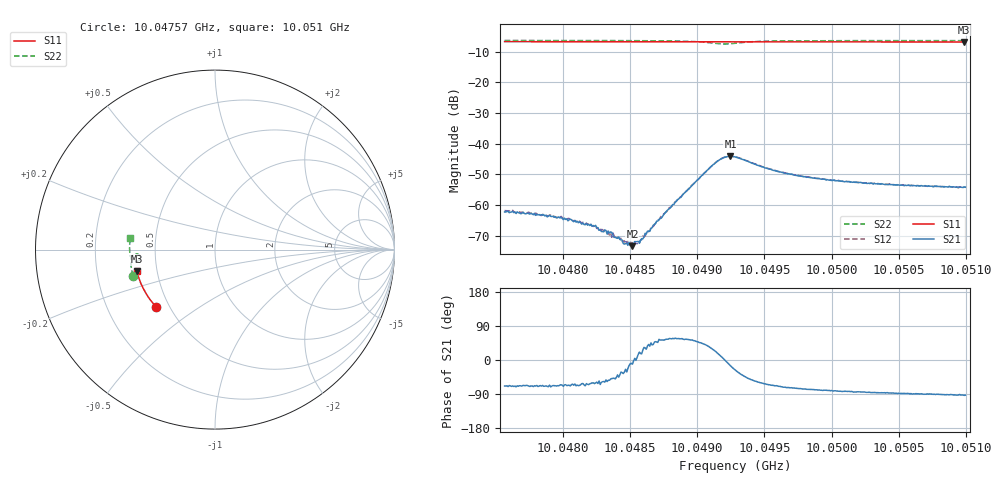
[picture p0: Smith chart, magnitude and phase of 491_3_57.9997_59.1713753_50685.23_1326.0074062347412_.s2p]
#  HZ  S  RI  R  50.00
! Rohde & Schwarz Vector Network Analyzer
! Rohde-Schwarz,ZNB20-2Port,1311601062101988,3.16
! Created: UTC 3/21/2024, 1:12:17 AM
! freq[Hz]  re:S11  im:S11  re:S21  im:S21  re:S12  im:S12  re:S22  im:S22
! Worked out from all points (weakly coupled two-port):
!   401 points, 10.04757 GHz to 10.051 GHz, reference 50 ohm
!   highest |S21| = -44.13 dB at 10.04925 GHz (marker M1); lowest = -73.4 dB at 10.04852 GHz (marker M2)
!   lowest |S11| = -6.9 dB at 10.05099 GHz (marker M3), VSWR 2.65, Z = 19.2 - j5.85 ohm
!   |S11| at or under -10 dB: nowhere
!   |S22| runs from -7.5 to -6.4 dB; largest |S21 - S12| = 0.00044
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1.0047567e10  -0.3304 -0.3174  0.000282 -0.000722  0.000377 -0.000727  -0.456 -0.1458
1.004791e10  -0.3452 -0.3  0.000216 -0.00062  0.000333 -0.000601  -0.4618 -0.1228
1.0048142e10  -0.3548 -0.2881  0.000225 -0.000434  0.00025 -0.000446  -0.4652 -0.1066
1.004821e10  -0.3574 -0.2844  0.00023 -0.000429  0.000272 -0.0004  -0.4662 -0.1016
1.0048245e10  -0.359 -0.2828  0.000232 -0.000407  0.000264 -0.000373  -0.4665 -0.0993
1.0048287e10  -0.3604 -0.2804  0.000193 -0.000319  0.000202 -0.000336  -0.467 -0.096
1.0048356e10  -0.3631 -0.2768  0.000233 -0.000283  0.000231 -0.000266  -0.4675 -0.0908
1.004839e10  -0.3644 -0.2749  0.000192 -0.000229  0.000224 -0.000193  -0.4679 -0.0883
1.0048467e10  -0.3673 -0.2708  0.000215 -9.71e-05  0.000254 -0.00011  -0.4685 -0.0824
1.0048519e10  -0.3693 -0.268  0.000211 -4.09e-05  0.000244 -1.18e-05  -0.4688 -0.0782
1.004857e10  -0.3712 -0.2651  0.000224 8.48e-05  0.000218 8.86e-05  -0.4689 -0.0739
1.0048587e10  -0.3718 -0.2643  0.000273 7.99e-05  0.000251 0.000105  -0.4688 -0.0725
1.0048716e10  -0.3765 -0.2571  0.000336 0.00047  0.000338 0.000468  -0.4684 -0.0609
1.004911e10  -0.3894 -0.2347  0.00379 0.00217  0.00364 0.0024  -0.4354 -0.0236
1.0049187e10  -0.3917 -0.2304  0.00571 0.000641  0.00576 0.00103  -0.4188 -0.0361
1.0049247e10  -0.3935 -0.2271  0.006 -0.00162  0.00613 -0.00119  -0.4197 -0.0541
1.0049282e10  -0.3946 -0.2254  0.00548 -0.00267  0.00565 -0.00233  -0.4266 -0.0614
1.0049582e10  -0.4039 -0.208  0.00134 -0.00337  0.00156 -0.00331  -0.468 -0.0432
1.0049856e10  -0.4117 -0.1915  0.000597 -0.00271  0.000736 -0.0027  -0.4745 -0.0179
1.0050431e10  -0.4251 -0.1565  0.000108 -0.00217  0.000246 -0.00221  -0.4754 0.0256
1.0050988e10  -0.4356 -0.1215  -0.000117 -0.00198  1.28e-05 -0.00195  -0.4718 0.064
1.0050996e10  -0.4359 -0.121  -9.48e-05 -0.00195  4.13e-07 -0.00196  -0.4716 0.0646
